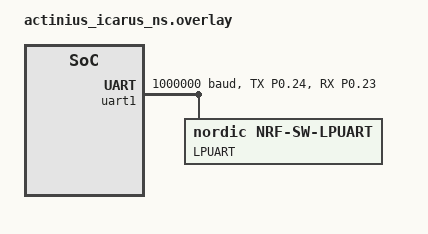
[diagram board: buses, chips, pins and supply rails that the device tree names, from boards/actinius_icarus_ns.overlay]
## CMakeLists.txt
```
# SPDX-License-Identifier: Apache-2.0

cmake_minimum_required(VERSION 3.20.0)

find_package(Zephyr REQUIRED HINTS $ENV{ZEPHYR_BASE})
project(peripheral_hr)

FILE(GLOB app_sources src/main.c)
target_sources(app PRIVATE
  ${app_sources}
  )

zephyr_library_include_directories(${ZEPHYR_BASE}/samples/bluetooth)
zephyr_sources_ifdef(CONFIG_NRF52840_RESET src/nrf52840_reset.c)
```

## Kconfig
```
menuconfig NRF52840_RESET
        bool "Reset nRF52840 SoC for BLE communication"

if NRF52840_RESET

        config NRF52840_RESET_PIN
                int "Pin used to reset nRF52840"
                default 0
                range 0 63

        config NRF52840_RESET_STATE
                bool "Active High or Low Reset State"
                default false

endif # NRF52840_RESET

menu "Zephyr Kernel"
source "Kconfig.zephyr"
endmenu
```

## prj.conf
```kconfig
CONFIG_BT=y
CONFIG_BT_DEBUG_LOG=y
CONFIG_BT_SMP=y
CONFIG_BT_PERIPHERAL=y
CONFIG_BT_DIS=y
CONFIG_BT_DIS_PNP=n
CONFIG_BT_BAS=y
CONFIG_BT_HRS=y
CONFIG_BT_DEVICE_NAME="Zephyr Heartrate Sensor"
CONFIG_BT_DEVICE_APPEARANCE=833

CONFIG_BT_H4=y
CONFIG_BT_WAIT_NOP=y
CONFIG_BT_HCI_ACL_FLOW_CONTROL=y
```

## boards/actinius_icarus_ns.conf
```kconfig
CONFIG_BOARD_SELECT_SIM_EXTERNAL=y

CONFIG_NRF_SW_LPUART=y
CONFIG_NRF_SW_LPUART_INT_DRIVEN=y

CONFIG_UART_1_ASYNC=y
CONFIG_UART_1_INTERRUPT_DRIVEN=n
CONFIG_UART_1_NRF_HW_ASYNC=y
CONFIG_UART_1_NRF_HW_ASYNC_TIMER=2

# Reset nRF52840
CONFIG_NRF52840_RESET=y
CONFIG_NRF52840_RESET_PIN=31
CONFIG_NRF52840_RESET_STATE=n
```

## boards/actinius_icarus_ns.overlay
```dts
/ {
	chosen {
		zephyr,bt-uart=&lpuart;
	};
};

&pinctrl {
	uart1_default_alt: uart1_default_alt {
		group1 {
			psels = <NRF_PSEL(UART_TX, 0, 24)>,
				<NRF_PSEL(UART_RX, 0, 23)>;
		};
	};

	uart1_sleep_alt: uart1_sleep_alt {
		group1 {
			psels = <NRF_PSEL(UART_TX, 0, 24)>,
				<NRF_PSEL(UART_RX, 0, 23)>;
			low-power-enable;
		};
	};

};

&gpiote {
	interrupts = <49 NRF_DEFAULT_IRQ_PRIORITY>;
};

&uart1 {
	current-speed = <1000000>;
	pinctrl-0 = <&uart1_default_alt>;
	pinctrl-1 = <&uart1_sleep_alt>;
	pinctrl-names = "default", "sleep";

	lpuart: nrf-sw-lpuart {
		compatible = "nordic,nrf-sw-lpuart";
		status = "okay";
		label = "LPUART";
		req-pin = <2>;
		rdy-pin = <1>;
	};
};
```

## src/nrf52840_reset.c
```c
#include <drivers/gpio.h>
#include <drivers/uart.h>
#include <device.h>

#ifndef CONFIG_NRF52840_RESET_STATE
#define CONFIG_NRF52840_RESET_STATE 0
#endif

#define NRF52840_RESET_STATE CONFIG_NRF52840_RESET_STATE

int bt_hci_transport_setup(struct device *h4)
{
	int err;
	char c;
	const struct device *port;

	port = device_get_binding(DT_LABEL(DT_NODELABEL(gpio0)));
	if (!port) {
		return -EIO;
	}

	/* Configure pin as output and initialize it to low. */
	err = gpio_pin_configure(port, CONFIG_NRF52840_RESET_PIN, NRF52840_RESET_STATE ? GPIO_OUTPUT_LOW : GPIO_OUTPUT_HIGH);
	if (err) {
		return err;
	}

	/* Reset the nRF52840 and let it wait until the pin is
	 * pulled low again before running to main to ensure
	 * that it won't send any data until the H4 device
	 * is setup and ready to receive.
	 */
	err = gpio_pin_set(port, CONFIG_NRF52840_RESET_PIN, NRF52840_RESET_STATE);
	if (err) {
		return err;
	}

	/* Wait for the nRF52840 peripheral to stop sending data.
	 *
	 * It is critical (!) to wait here, so that all bytes
	 * on the lines are received and drained correctly.
	 */
	k_sleep(K_MSEC(10));

	/* Drain bytes */
	while (uart_fifo_read(h4, &c, 1)) {
		continue;
	}

	/* We are ready, let the nRF52840 run to main */
	err = gpio_pin_set(port, CONFIG_NRF52840_RESET_PIN, !NRF52840_RESET_STATE);
	if (err) {
		return err;
	}

	return 0;
}
```
